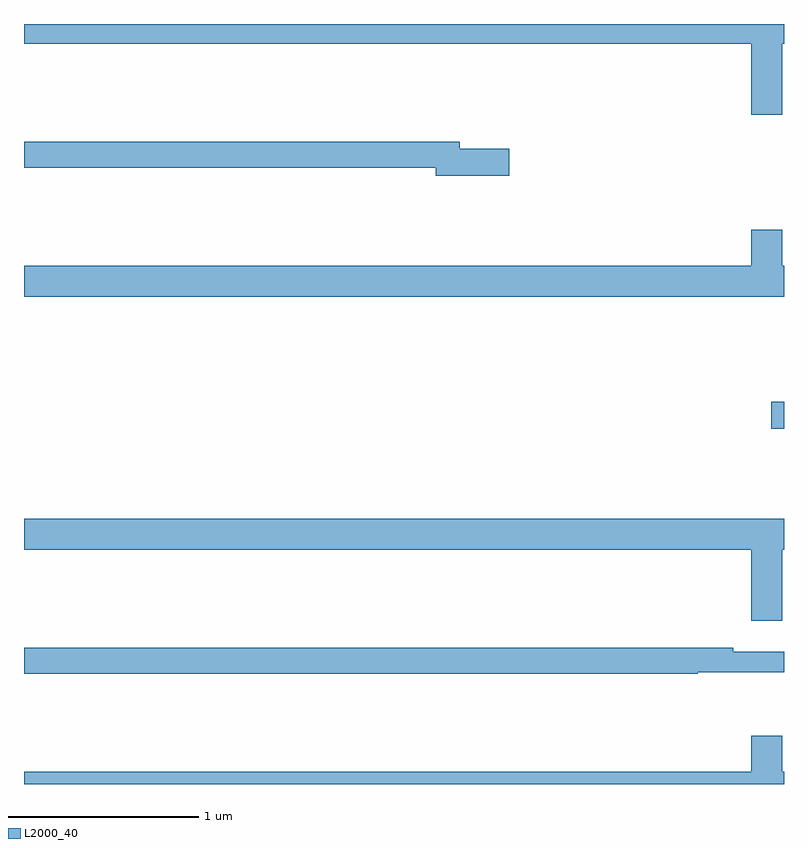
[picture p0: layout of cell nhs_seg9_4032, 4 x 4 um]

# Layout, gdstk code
import gdstk
lib = gdstk.Library(unit=1e-6, precision=1e-09)
def R(c, l, rs):  # rectangles x0, y0, x1, y1
    for r in rs: c.add(gdstk.rectangle(r[:2], r[2:], *l))
def P(c, l, *ps):  # polygons
    for p in ps: c.add(gdstk.Polygon(p, *l))
L2000_40 = (2000, 40)

nhs_seg9_4032 = lib.new_cell('nhs_seg9_4032')
R(nhs_seg9_4032, L2000_40, [(344.934,1218.37,345,1218.512)])
P(nhs_seg9_4032, L2000_40, [(344.992,1220.396),(345,1220.396),(345,1220.5),(341,1220.5),(341,1220.396),(344.828,1220.396),(344.828,1220.022),(344.992,1220.022)],
  [(343.555,1219.844),(343.294,1219.844),(343.294,1219.88),(341,1219.88),(341,1219.744),(343.166,1219.744),(343.166,1219.702),(343.555,1219.702)],
  [(345,1219.228),(344.992,1219.228),(344.992,1219.417),(344.828,1219.417),(344.828,1219.228),(341,1219.228),(341,1219.064),(345,1219.064)],
  [(344.992,1217.732),(345,1217.732),(345,1217.896),(341,1217.896),(341,1217.732),(344.828,1217.732),(344.828,1217.358),(344.992,1217.358)],
  [(344.545,1217.088),(345,1217.088),(345,1217.197),(344.732,1217.197),(344.732,1217.216),(341,1217.216),(341,1217.08),(344.545,1217.08)],
  [(345,1216.564),(344.992,1216.564),(344.992,1216.753),(344.828,1216.753),(344.828,1216.564),(341,1216.564),(341,1216.5),(345,1216.5)])

lib.write_gds('nhs_seg9_4032.gds')
